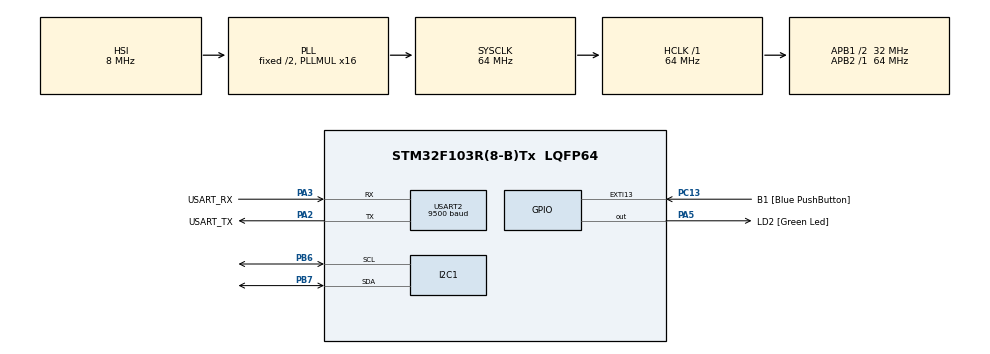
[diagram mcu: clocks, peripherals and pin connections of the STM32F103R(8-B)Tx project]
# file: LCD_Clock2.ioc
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I2C1.I2C_Mode=I2C_Fast
Mcu.Family=STM32F1
Mcu.Name=STM32F103R(8-B)Tx
Mcu.Package=LQFP64
NVIC.EXTI15_10_IRQn=true\:0\:0\:false\:false\:true\:true\:true\:true
NVIC.PriorityGroup=NVIC_PRIORITYGROUP_4
NVIC.TIM2_IRQn=true\:0\:0\:false\:false\:true\:true\:true\:true
PA13.GPIO_Label=TMS
PA13.Mode=Serial_Wire
PA13.Signal=SYS_JTMS-SWDIO
PA14.GPIO_Label=TCK
PA14.Mode=Serial_Wire
PA14.Signal=SYS_JTCK-SWCLK
PA2.GPIO_Label=USART_TX
PA2.GPIO_Mode=GPIO_MODE_AF_PP
PA2.GPIO_PuPd=GPIO_NOPULL
PA2.GPIO_Speed=GPIO_SPEED_FREQ_LOW
PA2.Mode=Asynchronous
PA2.Signal=USART2_TX
PA3.GPIO_Label=USART_RX
PA3.GPIO_Mode=GPIO_MODE_AF_PP
PA3.GPIO_PuPd=GPIO_NOPULL
PA3.GPIO_Speed=GPIO_SPEED_FREQ_LOW
PA3.Mode=Asynchronous
PA3.Signal=USART2_RX
PA5.GPIO_Label=LD2 [Green Led]
PA5.GPIO_ModeDefaultOutputPP=GPIO_MODE_OUTPUT_PP
PA5.GPIO_PuPd=GPIO_NOPULL
PA5.GPIO_Speed=GPIO_SPEED_FREQ_LOW
PA5.Signal=GPIO_Output
PB3.GPIO_Label=SWO
PB3.Signal=SYS_JTDO-TRACESWO
PB6.Mode=I2C
PB6.Signal=I2C1_SCL
PB7.Mode=I2C
PB7.Signal=I2C1_SDA
PC13-TAMPER-RTC.GPIO_Label=B1 [Blue PushButton]
PC13-TAMPER-RTC.GPIO_PuPd=GPIO_NOPULL
PC13-TAMPER-RTC.Signal=GPXTI13
PC14-OSC32_IN.Mode=LSE-External-Oscillator
PC14-OSC32_IN.Signal=RCC_OSC32_IN
PC15-OSC32_OUT.Mode=LSE-External-Oscillator
PC15-OSC32_OUT.Signal=RCC_OSC32_OUT
PD0-OSC_IN.Mode=HSE-External-Clock-Source
PD0-OSC_IN.Signal=RCC_OSC_IN
PD1-OSC_OUT.Mode=HSE-External-Clock-Source
PD1-OSC_OUT.Signal=RCC_OSC_OUT
ProjectManager.HeapSize=0x200
ProjectManager.StackSize=0x400
ProjectManager.TargetToolchain=STM32CubeIDE
RCC.AHBFreq_Value=64000000
RCC.APB1CLKDivider=RCC_HCLK_DIV2
RCC.APB1Freq_Value=32000000
RCC.APB1TimFreq_Value=64000000
RCC.APB2Freq_Value=64000000
RCC.APB2TimFreq_Value=64000000
RCC.HCLKFreq_Value=64000000
RCC.PLLMUL=RCC_PLL_MUL16
RCC.RTCClockSelection=RCC_RTCCLKSOURCE_LSE
RCC.SYSCLKFreq_VALUE=64000000
RCC.SYSCLKSource=RCC_SYSCLKSOURCE_PLLCLK
RCC.USBFreq_Value=64000000
TIM2.Channel-Output\ Compare1\ No\ Output=TIM_CHANNEL_1
TIM2.Period=1000-1
TIM2.Prescaler=6400
TIM2.Pulse-Output\ Compare1\ No\ Output=5000-1
USART2.BaudRate=9500
USART2.VirtualMode=VM_ASYNC
VP_TIM2_VS_ClockSourceINT.Mode=Internal
VP_TIM2_VS_no_output1.Mode=Output Compare1 No Output
board=NUCLEO-F103RB

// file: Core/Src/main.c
/* USER CODE BEGIN Header */
/**
  ******************************************************************************
  * @file           : main.c
  * @brief          : Main program body
  ******************************************************************************
  * @attention
  *
  * Copyright (c) 2022 STMicroelectronics.
  * All rights reserved.
  *
  * This software is licensed under terms that can be found in the LICENSE file
  * in the root directory of this software component.
  * If no LICENSE file comes with this software, it is provided AS-IS.
  *
  ******************************************************************************
  */
/* USER CODE END Header */
#include "main.h"

 I2C_HandleTypeDef hi2c1;

TIM_HandleTypeDef htim2;

UART_HandleTypeDef huart2;

/* USER CODE BEGIN PV */
char time_str[20];
int second  = 37;
int minuet = 59;
int hour = 3;
/* USER CODE END PV */

void SystemClock_Config(void);
static void MX_GPIO_Init(void);
static void MX_USART2_UART_Init(void);
static void MX_I2C1_Init(void);
static void MX_TIM2_Init(void);
/* USER CODE BEGIN PFP */
#ifdef __GNUC__
/* With GCC, small printf (option LD Linker->Libraries->Small printf
   set to 'Yes') calls __io_putchar() */
#define PUTCHAR_PROTOTYPE int __io_putchar(int ch)
#else
#define PUTCHAR_PROTOTYPE int fputc(int ch, FILE *f)
#endif /* __GNUC__ */

PUTCHAR_PROTOTYPE
{
  /* Place your implementation of fputc here */
  /* e.g. write a character to the USART1 and Loop until the end of transmission */
  HAL_UART_Transmit(&huart2, (uint8_t *)&ch, 1, 0xFFFF);

  return ch;
}
/* USER CODE END PFP */

int main(void)
{

  /* MCU Configuration--------------------------------------------------------*/

  /* Reset of all peripherals, Initializes the Flash interface and the Systick. */
  HAL_Init();

  /* Configure the system clock */
  SystemClock_Config();

  /* Initialize all configured peripherals */
  MX_GPIO_Init();
  MX_USART2_UART_Init();
  MX_I2C1_Init();
  MX_TIM2_Init();
  /* USER CODE BEGIN 2 */
  HAL_TIM_Base_Start_IT(&htim2);
  lcd_init();
  lcd_send_string("clock");
  HAL_TIM_OC_Start_IT(&htim2, TIM_CHANNEL_1); // start Compare Interrupt every 0.5 secs
  /* USER CODE END 2 */

  /* Infinite loop */
  while (1)
  {

  }
}

void SystemClock_Config(void)
{
  RCC_OscInitTypeDef RCC_OscInitStruct = {0};
  RCC_ClkInitTypeDef RCC_ClkInitStruct = {0};

  /** Initializes the RCC Oscillators according to the specified parameters
  * in the RCC_OscInitTypeDef structure.
  */
  RCC_OscInitStruct.OscillatorType = RCC_OSCILLATORTYPE_HSI;
  RCC_OscInitStruct.HSIState = RCC_HSI_ON;
  RCC_OscInitStruct.HSICalibrationValue = RCC_HSICALIBRATION_DEFAULT;
  RCC_OscInitStruct.PLL.PLLState = RCC_PLL_ON;
  RCC_OscInitStruct.PLL.PLLSource = RCC_PLLSOURCE_HSI_DIV2;
  RCC_OscInitStruct.PLL.PLLMUL = RCC_PLL_MUL16;
  if (HAL_RCC_OscConfig(&RCC_OscInitStruct) != HAL_OK)
  {
    Error_Handler();
  }

  /** Initializes the CPU, AHB and APB buses clocks
  */
  RCC_ClkInitStruct.ClockType = RCC_CLOCKTYPE_HCLK|RCC_CLOCKTYPE_SYSCLK
                              |RCC_CLOCKTYPE_PCLK1|RCC_CLOCKTYPE_PCLK2;
  RCC_ClkInitStruct.SYSCLKSource = RCC_SYSCLKSOURCE_PLLCLK;
  RCC_ClkInitStruct.AHBCLKDivider = RCC_SYSCLK_DIV1;
  RCC_ClkInitStruct.APB1CLKDivider = RCC_HCLK_DIV2;
  RCC_ClkInitStruct.APB2CLKDivider = RCC_HCLK_DIV1;

  if (HAL_RCC_ClockConfig(&RCC_ClkInitStruct, FLASH_LATENCY_2) != HAL_OK)
  {
    Error_Handler();
  }
}

static void MX_I2C1_Init(void)
{

  hi2c1.Instance = I2C1;
  hi2c1.Init.ClockSpeed = 400000;
  hi2c1.Init.DutyCycle = I2C_DUTYCYCLE_2;
  hi2c1.Init.OwnAddress1 = 0;
  hi2c1.Init.AddressingMode = I2C_ADDRESSINGMODE_7BIT;
  hi2c1.Init.DualAddressMode = I2C_DUALADDRESS_DISABLE;
  hi2c1.Init.OwnAddress2 = 0;
  hi2c1.Init.GeneralCallMode = I2C_GENERALCALL_DISABLE;
  hi2c1.Init.NoStretchMode = I2C_NOSTRETCH_DISABLE;
  if (HAL_I2C_Init(&hi2c1) != HAL_OK)
  {
    Error_Handler();
  }

}

static void MX_TIM2_Init(void)
{

  TIM_ClockConfigTypeDef sClockSourceConfig = {0};
  TIM_MasterConfigTypeDef sMasterConfig = {0};
  TIM_OC_InitTypeDef sConfigOC = {0};

  htim2.Instance = TIM2;
  htim2.Init.Prescaler = 6400;
  htim2.Init.CounterMode = TIM_COUNTERMODE_UP;
  htim2.Init.Period = 1000-1;
  htim2.Init.ClockDivision = TIM_CLOCKDIVISION_DIV1;
  htim2.Init.AutoReloadPreload = TIM_AUTORELOAD_PRELOAD_DISABLE;
  if (HAL_TIM_Base_Init(&htim2) != HAL_OK)
  {
    Error_Handler();
  }
  sClockSourceConfig.ClockSource = TIM_CLOCKSOURCE_INTERNAL;
  if (HAL_TIM_ConfigClockSource(&htim2, &sClockSourceConfig) != HAL_OK)
  {
    Error_Handler();
  }
  if (HAL_TIM_OC_Init(&htim2) != HAL_OK)
  {
    Error_Handler();
  }
  sMasterConfig.MasterOutputTrigger = TIM_TRGO_RESET;
  sMasterConfig.MasterSlaveMode = TIM_MASTERSLAVEMODE_DISABLE;
  if (HAL_TIMEx_MasterConfigSynchronization(&htim2, &sMasterConfig) != HAL_OK)
  {
    Error_Handler();
  }
  sConfigOC.OCMode = TIM_OCMODE_TIMING;
  sConfigOC.Pulse = 5000-1;
  sConfigOC.OCPolarity = TIM_OCPOLARITY_HIGH;
  sConfigOC.OCFastMode = TIM_OCFAST_DISABLE;
  if (HAL_TIM_OC_ConfigChannel(&htim2, &sConfigOC, TIM_CHANNEL_1) != HAL_OK)
  {
    Error_Handler();
  }

}

static void MX_USART2_UART_Init(void)
{

  huart2.Instance = USART2;
  huart2.Init.BaudRate = 9500;
  huart2.Init.WordLength = UART_WORDLENGTH_8B;
  huart2.Init.StopBits = UART_STOPBITS_1;
  huart2.Init.Parity = UART_PARITY_NONE;
  huart2.Init.Mode = UART_MODE_TX_RX;
  huart2.Init.HwFlowCtl = UART_HWCONTROL_NONE;
  huart2.Init.OverSampling = UART_OVERSAMPLING_16;
  if (HAL_UART_Init(&huart2) != HAL_OK)
  {
    Error_Handler();
  }

}

static void MX_GPIO_Init(void)
{
  GPIO_InitTypeDef GPIO_InitStruct = {0};

  /* GPIO Ports Clock Enable */
  __HAL_RCC_GPIOC_CLK_ENABLE();
  __HAL_RCC_GPIOD_CLK_ENABLE();
  __HAL_RCC_GPIOA_CLK_ENABLE();
  __HAL_RCC_GPIOB_CLK_ENABLE();

  /*Configure GPIO pin Output Level */
  HAL_GPIO_WritePin(LD2_GPIO_Port, LD2_Pin, GPIO_PIN_RESET);

  /*Configure GPIO pin : B1_Pin */
  GPIO_InitStruct.Pin = B1_Pin;
  GPIO_InitStruct.Mode = GPIO_MODE_IT_RISING;
  GPIO_InitStruct.Pull = GPIO_NOPULL;
  HAL_GPIO_Init(B1_GPIO_Port, &GPIO_InitStruct);

  /*Configure GPIO pin : LD2_Pin */
  GPIO_InitStruct.Pin = LD2_Pin;
  GPIO_InitStruct.Mode = GPIO_MODE_OUTPUT_PP;
  GPIO_InitStruct.Pull = GPIO_NOPULL;
  GPIO_InitStruct.Speed = GPIO_SPEED_FREQ_LOW;
  HAL_GPIO_Init(LD2_GPIO_Port, &GPIO_InitStruct);

  /* EXTI interrupt init*/
  HAL_NVIC_SetPriority(EXTI15_10_IRQn, 0, 0);
  HAL_NVIC_EnableIRQ(EXTI15_10_IRQn);

}

/* USER CODE BEGIN 4 */
//void HAL_TIM_PeriodElapsedCallback(TIM_HandleTypeDef *htim) {
//
//	second += 1;
//
//	if(second == 60){
//		minuet += 1;
//		second = 0;
//	}
//	if(minuet == 60){
//		hour += 1;
//		minuet = 0;
//	}
//	if(minuet == 13){
//		hour = 1;
//	}
//	sprintf(time_str, "%2d:%02d:%02d", hour, minuet, second);
//	lcd_put_cur(1,0);
//	lcd_send_string(time_str);
//}

void HAL_TIM_OC_DelayElapsedCallback(TIM_HandleTypeDef *htim){
		second += 1;

		if(second == 60){
			minuet += 1;
			second = 0;
		}
		if(minuet == 60){
			hour += 1;
			minuet = 0;
		}
		if(minuet == 13){
			hour = 1;
		}
		sprintf(time_str, "%2d:%02d:%02d", hour, minuet, second);
		lcd_put_cur(1,0);
		lcd_send_string(time_str);
}
/* USER CODE END 4 */

void Error_Handler(void)
{
  __disable_irq();
  while (1)
  {
  }
}
